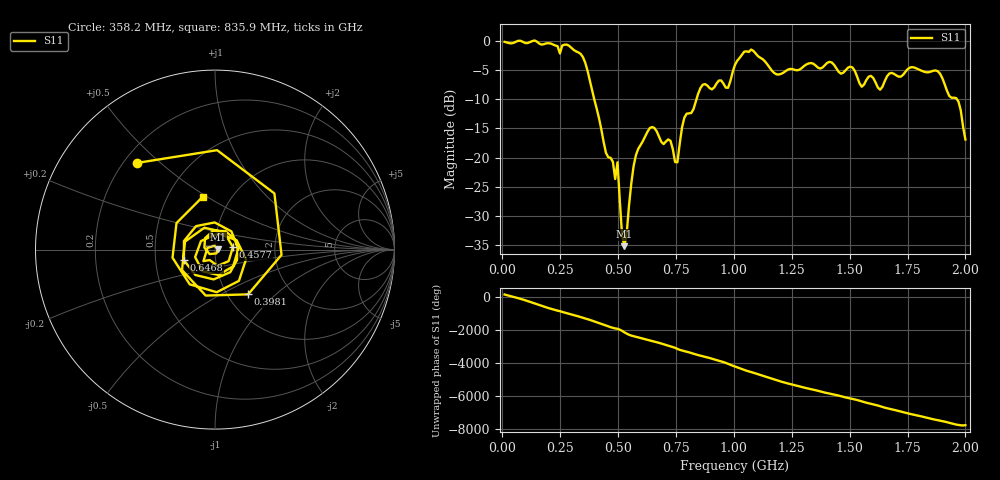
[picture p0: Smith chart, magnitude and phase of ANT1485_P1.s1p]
!Created with skrf (http://scikit-rf.org).
# Hz S RI R 50.0
!freq ReS11 ImS11
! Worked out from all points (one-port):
!   201 points, 10 MHz to 2 GHz, reference 50 ohm
!   lowest |S11| = -35.2 dB at 527.4 MHz (marker M1), VSWR 1.04, Z = 51.8 + j0.249 ohm
!   |S11| at or under -10 dB: 397 MHz to 838.8 MHz (441.8 MHz wide, 71.5 % of centre); 1.963 GHz to end of sweep
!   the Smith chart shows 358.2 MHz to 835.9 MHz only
!   S11 on the Smith chart (normalised r, x): 358.2 MHz: 0.25, +0.42; 398.1 MHz: 1.24, -0.69; 457.8 MHz: 1.22, +0.03; 646.8 MHz: 0.70, -0.08; 835.9 MHz: 0.74, +0.48
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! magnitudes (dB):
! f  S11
! 10 MHz  -0.2
! 258.8 MHz  -0.8
! 358.2 MHz  -3.7
! 398.1 MHz  -10.2
! 457.8 MHz  -19.9
! 487.6 MHz  -23.7
! 497.6 MHz  -20.8
! 507.5 MHz  -27.4
! 517.5 MHz  -33.4
! 527.4 MHz  -35.2
! 577.1 MHz  -19.6
! 646.8 MHz  -14.8
! 726.4 MHz  -17.1
! 756.2 MHz  -20.8
! 786.1 MHz  -13.2
! 835.9 MHz  -10.4
! 865.7 MHz  -7.5
! 975.1 MHz  -8.0
! 1.005 GHz  -4.1
! 1.075 GHz  -1.5
! 1.184 GHz  -5.7
! 1.254 GHz  -4.8
! 1.502 GHz  -4.4
! 1.632 GHz  -8.4
! 1.751 GHz  -4.8
! 1.891 GHz  -5.6
! 1.97 GHz  -10.4
! 2 GHz  -16.9
